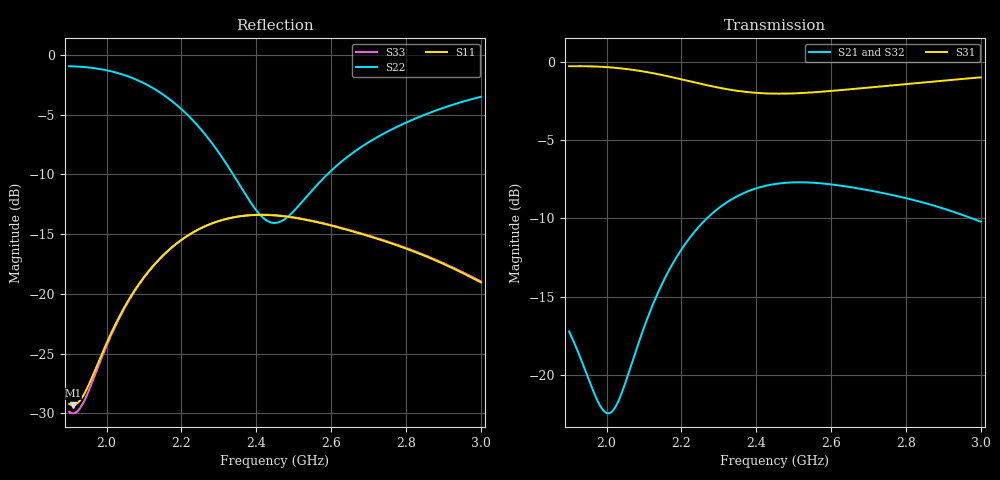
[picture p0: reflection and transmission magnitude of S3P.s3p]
! C23 board, ports J2 L2 L3
# Hz S RI R 50
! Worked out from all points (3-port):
!   1101 points, 1.9 GHz to 3 GHz, reference 50 ohm
!   strongest paths, dB at 1.9 GHz, 2.175 GHz, 2.45 GHz, 2.725 GHz, 3 GHz:
!     S31: -0.3, -1.0, -2.0, -1.6, -1.0
!     S21: -17.2, -13.0, -7.8, -8.3, -10.2
!     S32: -17.3, -13.0, -7.8, -8.3, -10.2
!   lowest |S11| = -29.3 dB at 1.91 GHz (marker M1), VSWR 1.07, Z = 46.7 + j0.61 ohm
!   |S11| at or under -10 dB: start of sweep to end of sweep
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1.9e9  -0.0328 0.011  -0.0467 0.1297  0.9554 -0.1469
       -0.0464 0.1298  0.8658 0.2406  -0.0543 0.1255
       0.9553 -0.1467  -0.0536 0.1259  -0.0316 0.00562
1.91e9  -0.0336 0.00652  -0.0464 0.1211  0.9549 -0.1523
        -0.0462 0.1212  0.8691 0.2236  -0.0534 0.1169
        0.9547 -0.1521  -0.0528 0.1173  -0.0316 0.000959
1.98e9  -0.0459 -0.0256  -0.0573 0.0573  0.9447 -0.1914
        -0.0571 0.0575  0.8704 0.0936  -0.0586 0.0518
        0.9443 -0.1911  -0.0584 0.0523  -0.038 -0.0335
2.013e9  -0.0562 -0.0399  -0.0713 0.0272  0.9353 -0.2094
         -0.0711 0.0274  0.8542 0.0288  -0.0698 0.0201
         0.9348 -0.2091  -0.0699 0.0208  -0.0456 -0.0497
2.107e9  -0.1004 -0.0685  -0.1437 -0.0416  0.8929 -0.2505
         -0.1435 -0.0414  0.7403 -0.1361  -0.1354 -0.0564
         0.892 -0.2497  -0.136 -0.0552  -0.0835 -0.0873
2.22e9  -0.1644 -0.0648  -0.2662 -0.0561  0.827 -0.2633
        -0.2661 -0.0558  0.5093 -0.219  -0.2562 -0.0849
        0.8261 -0.2619  -0.257 -0.0827  -0.1471 -0.0977
2.342e9  -0.2087 -0.019  -0.368 0.0174  0.7761 -0.2332
         -0.3677 0.0179  0.2821 -0.127  -0.3659 -0.0243
         0.7755 -0.2313  -0.3661 -0.0211  -0.1999 -0.0636
2.45e9  -0.2111 0.029  -0.3914 0.1118  0.7663 -0.1952
        -0.3911 0.1123  0.1946 0.0374  -0.4004 0.0653
        0.7662 -0.1932  -0.3998 0.069  -0.2128 -0.0188
2.694e9  -0.157 0.079  -0.3067 0.2409  0.8092 -0.1601
         -0.3062 0.2413  0.2922 0.3095  -0.3335 0.2005
         0.8097 -0.1584  -0.3315 0.2038  -0.1723 0.0393
3e9  -0.0916 0.064  -0.1687 0.2583  0.8695 -0.1923
     -0.1682 0.2586  0.5372 0.399  -0.2015 0.2328
     0.8698 -0.1912  -0.1991 0.235  -0.1062 0.0382
